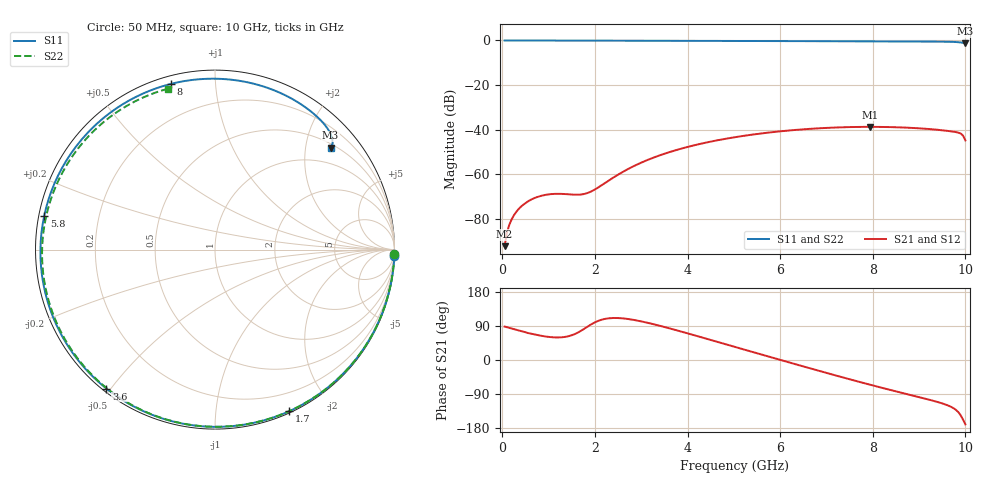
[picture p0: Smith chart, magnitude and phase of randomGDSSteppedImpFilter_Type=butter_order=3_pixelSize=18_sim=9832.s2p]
! freq	dB(S11)	phase(S11)	dB(S12)	phase(S12)
!  dB(S21)	phase(S21)	dB(S22)	phase(S22)
!S-par simulation data
#  GHz  S  DB  R 50
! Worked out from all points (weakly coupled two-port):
!   200 points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, 50 MHz to 10 GHz, reference 50 ohm
!   highest |S21| = -38.69 dB at 7.95 GHz (marker M1); lowest = -92.1 dB at 50 MHz (marker M2)
!   lowest |S11| = -1.3 dB at 10 GHz (marker M3), VSWR 13.08, Z = 29.4 + j126 ohm
!   |S11| at or under -10 dB: nowhere
!   |S22| runs from -0.6 to 0.0 dB; largest |S21 - S12| = 0
!   S11 on the Smith chart (normalised r, x): 50 MHz: 0, -57; 1.7 GHz: 0.02, -1.56; 3.6 GHz: 0.01, -0.49; 5.8 GHz: 0.02, +0.10; 8 GHz: 0.04, +0.77; 10 GHz: 0.59, +2.53
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0.05  -0.00 -2.0  -92.12 88.3  -92.12 88.3  -0.00 -1.5
0.2  -0.01 -8.0  -80.19 83.1  -80.19 83.1  -0.01 -6.2
0.45  -0.03 -17.9  -73.61 75.0  -73.61 75.0  -0.02 -13.8
0.8  -0.04 -31.6  -69.81 64.8  -69.81 64.8  -0.03 -24.3
1.15  -0.06 -45.0  -68.68 59.6  -68.68 59.6  -0.04 -34.8
1.7  -0.08 -65.4  -68.98 77.1  -68.98 77.1  -0.06 -50.8
1.75  -0.08 -67.2  -68.82 80.9  -68.82 80.9  -0.07 -52.3
2  -0.09 -76.1  -66.74 99.3  -66.74 99.3  -0.07 -59.3
2.55  -0.11 -94.8  -59.48 110.4  -59.48 110.4  -0.09 -74.4
3.4  -0.14 -121.9  -51.45 90.3  -51.45 90.3  -0.12 -96.6
3.6  -0.15 -128.0  -50.07 83.9  -50.07 83.9  -0.13 -101.6
4.35  -0.18 -150.1  -45.96 58.2  -45.96 58.2  -0.16 -119.8
5.05  -0.22 -170.0  -43.24 33.6  -43.24 33.6  -0.19 -136.2
5.8  -0.26 168.9  -41.14 7.3  -41.14 7.3  -0.24 -153.2
6.7  -0.32 143.3  -39.51 -23.8  -39.51 -23.8  -0.30 -173.4
7.95  -0.39 106.3  -38.69 -65.5  -38.69 -65.5  -0.41 157.9
8  -0.40 104.8  -38.70 -67.1  -38.70 -67.1  -0.41 156.8
8.35  -0.42 94.0  -38.79 -78.2  -38.79 -78.2  -0.44 148.4
9.1  -0.47 70.4  -39.48 -101.1  -39.48 -101.1  -0.51 129.9
9.8  -0.71 47.2  -41.06 -132.1  -41.06 -132.1  -0.57 111.7
9.9  -0.90 43.6  -41.70 -146.2  -41.70 -146.2  -0.58 109.1
10  -1.33 41.4  -44.77 -169.9  -44.77 -169.9  -0.59 106.4
